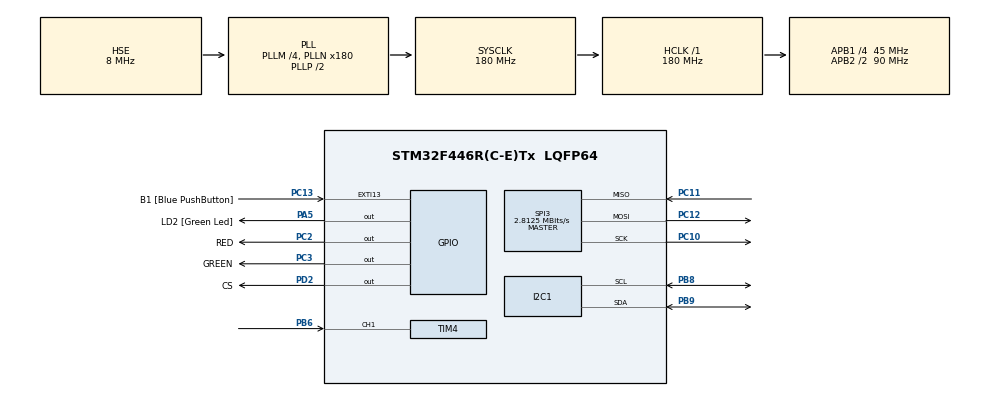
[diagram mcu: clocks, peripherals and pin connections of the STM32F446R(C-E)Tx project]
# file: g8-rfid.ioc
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I2C1.I2C_Mode=I2C_Fast
Mcu.Family=STM32F4
Mcu.Name=STM32F446R(C-E)Tx
Mcu.Package=LQFP64
NVIC.PriorityGroup=NVIC_PRIORITYGROUP_0
NVIC.TIM4_IRQn=true\:0\:0\:false\:false\:true\:true
PA13.GPIO_Label=TMS
PA13.Mode=Serial_Wire
PA13.Signal=SYS_JTMS-SWDIO
PA14.GPIO_Label=TCK
PA14.Mode=Serial_Wire
PA14.Signal=SYS_JTCK-SWCLK
PA2.GPIO_Label=USART_TX
PA2.Signal=USART2_TX
PA3.GPIO_Label=USART_RX
PA3.Signal=USART2_RX
PA5.GPIO_Label=LD2 [Green Led]
PA5.Signal=GPIO_Output
PB3.GPIO_Label=SWO
PB3.Signal=SYS_JTDO-SWO
PB6.Signal=S_TIM4_CH1
PB8.Mode=I2C
PB8.Signal=I2C1_SCL
PB9.Mode=I2C
PB9.Signal=I2C1_SDA
PC10.Mode=Full_Duplex_Master
PC10.Signal=SPI3_SCK
PC11.Mode=Full_Duplex_Master
PC11.Signal=SPI3_MISO
PC12.Mode=Full_Duplex_Master
PC12.Signal=SPI3_MOSI
PC13.GPIO_Label=B1 [Blue PushButton]
PC13.GPIO_ModeDefaultEXTI=GPIO_MODE_IT_FALLING
PC13.Signal=GPXTI13
PC14-OSC32_IN.Mode=LSE-External-Oscillator
PC14-OSC32_IN.Signal=RCC_OSC32_IN
PC15-OSC32_OUT.Mode=LSE-External-Oscillator
PC15-OSC32_OUT.Signal=RCC_OSC32_OUT
PC2.GPIO_Label=RED
PC2.Signal=GPIO_Output
PC3.GPIO_Label=GREEN
PC3.Signal=GPIO_Output
PD2.GPIO_Label=CS
PD2.Signal=GPIO_Output
PH0-OSC_IN.Mode=HSE-External-Oscillator
PH0-OSC_IN.Signal=RCC_OSC_IN
PH1-OSC_OUT.Mode=HSE-External-Oscillator
PH1-OSC_OUT.Signal=RCC_OSC_OUT
ProjectManager.HeapSize=0x200
ProjectManager.StackSize=0x400
ProjectManager.TargetToolchain=SW4STM32
RCC.48MHZClocksFreq_Value=84000000
RCC.AHBFreq_Value=180000000
RCC.APB1CLKDivider=RCC_HCLK_DIV4
RCC.APB1Freq_Value=45000000
RCC.APB1TimFreq_Value=90000000
RCC.APB2CLKDivider=RCC_HCLK_DIV2
RCC.APB2Freq_Value=90000000
RCC.APB2TimFreq_Value=180000000
RCC.CortexFreq_Value=180000000
RCC.FLatency-AdvancedSettings=FLASH_LATENCY_5
RCC.HCLKFreq_Value=180000000
RCC.HSE_VALUE=8000000
RCC.HSI_VALUE=16000000
RCC.PLLM=4
RCC.PLLN=180
RCC.PLLSourceVirtual=RCC_PLLSOURCE_HSE
RCC.SYSCLKFreq_VALUE=180000000
RCC.SYSCLKSource=RCC_SYSCLKSOURCE_PLLCLK
RCC.USBFreq_Value=180000000
RCC.VCOOutputFreq_Value=360000000
SH.S_TIM4_CH1.0=TIM4_CH1,PWM_Input_1
SPI3.BaudRatePrescaler=SPI_BAUDRATEPRESCALER_16
SPI3.CalculateBaudRate=2.8125 MBits/s
SPI3.Direction=SPI_DIRECTION_2LINES
SPI3.Mode=SPI_MODE_MASTER
SPI3.VirtualType=VM_MASTER
TIM4.Period=20000
TIM4.Prescaler=90
board=NUCLEO-F446RE

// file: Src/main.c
/**
  ******************************************************************************
  * @file           : main.c
  * @brief          : Main program body
  ******************************************************************************
  ** This notice applies to any and all portions of this file
  * that are not between comment pairs USER CODE BEGIN and
  * USER CODE END. Other portions of this file, whether
  * inserted by the user or by software development tools
  * are owned by their respective copyright owners.
  *
  * COPYRIGHT(c) 2018 STMicroelectronics
  *
  * Redistribution and use in source and binary forms, with or without modification,
  * are permitted provided that the following conditions are met:
  *   1. Redistributions of source code must retain the above copyright notice,
  *      this list of conditions and the following disclaimer.
  *   2. Redistributions in binary form must reproduce the above copyright notice,
  *      this list of conditions and the following disclaimer in the documentation
  *      and/or other materials provided with the distribution.
  *   3. Neither the name of STMicroelectronics nor the names of its contributors
  *      may be used to endorse or promote products derived from this software
  *      without specific prior written permission.
  *
  * THIS SOFTWARE IS PROVIDED BY THE COPYRIGHT HOLDERS AND CONTRIBUTORS "AS IS"
  * AND ANY EXPRESS OR IMPLIED WARRANTIES, INCLUDING, BUT NOT LIMITED TO, THE
  * IMPLIED WARRANTIES OF MERCHANTABILITY AND FITNESS FOR A PARTICULAR PURPOSE ARE
  * DISCLAIMED. IN NO EVENT SHALL THE COPYRIGHT HOLDER OR CONTRIBUTORS BE LIABLE
  * FOR ANY DIRECT, INDIRECT, INCIDENTAL, SPECIAL, EXEMPLARY, OR CONSEQUENTIAL
  * DAMAGES (INCLUDING, BUT NOT LIMITED TO, PROCUREMENT OF SUBSTITUTE GOODS OR
  * SERVICES; LOSS OF USE, DATA, OR PROFITS; OR BUSINESS INTERRUPTION) HOWEVER
  * CAUSED AND ON ANY THEORY OF LIABILITY, WHETHER IN CONTRACT, STRICT LIABILITY,
  * OR TORT (INCLUDING NEGLIGENCE OR OTHERWISE) ARISING IN ANY WAY OUT OF THE USE
  * OF THIS SOFTWARE, EVEN IF ADVISED OF THE POSSIBILITY OF SUCH DAMAGE.
  *
  ******************************************************************************
  */
#include "main.h"
#include "stm32f4xx_hal.h"
#include "i2c.h"
#include "spi.h"
#include "tim.h"
#include "gpio.h"

/* USER CODE BEGIN Includes */
#include "MFRC522.h"
#include "ssd1306.h"
#include "fonts.h"
/* USER CODE END Includes */

/* USER CODE BEGIN PV */
/* Private variables ---------------------------------------------------------*/
/* Array for storing card IDs */
uint8_t CardID[5];
/* Known IDs */
uint8_t MyIDCard[5] = {0xa0, 0xcf, 0xda, 0xa4, 0x11};
uint8_t MyIDToken[5] = {0xd4, 0xe3, 0x16, 0xa3, 0x82};

/* USER CODE END PV */

void SystemClock_Config(void);

/* USER CODE BEGIN PFP */
/* Private function prototypes -----------------------------------------------*/

/* USER CODE END PFP */

int main(void)
{

  /* MCU Configuration----------------------------------------------------------*/

  /* Reset of all peripherals, Initializes the Flash interface and the Systick. */
  HAL_Init();

  /* Configure the system clock */
  SystemClock_Config();

  /* Initialize all configured peripherals */
  MX_GPIO_Init();
  MX_SPI3_Init();
  MX_TIM4_Init();
  MX_I2C1_Init();
  /* USER CODE BEGIN 2 */

  MFRC522_Init(&hspi3);
  ssd1306_Init(&hi2c1);
  ssd1306_Fill(Black);
  ssd1306_UpdateScreen();

  //HAL_TIM_PWM_Start_IT(&htim4, TIM_CHANNEL_1);

  /* USER CODE END 2 */

  /* Infinite loop */
  /* USER CODE BEGIN WHILE */
  while (1)
  {
	  /* Check if card is present */
	  		if (MFRC522_Check(CardID) == MI_OK) {
	  			/* Check CardID if this is my card or token */
	  			if (MFRC522_Compare(CardID, MyIDCard) == MI_OK) {
	  				HAL_GPIO_WritePin(RED_GPIO_Port, RED_Pin, 0);

	  				HAL_GPIO_WritePin(GREEN_GPIO_Port, GREEN_Pin, 1);
	  					  				/* Do smth here */
	  			} else if (MFRC522_Compare(CardID, MyIDToken) == MI_OK) {
	  				HAL_GPIO_WritePin(RED_GPIO_Port, RED_Pin, 0);
	  				HAL_GPIO_WritePin(GREEN_GPIO_Port, GREEN_Pin, 1);
	  				/* Do smth here */
	  			} else {
	  				HAL_GPIO_WritePin(RED_GPIO_Port, RED_Pin, 1);
	  			    HAL_GPIO_WritePin(GREEN_GPIO_Port, GREEN_Pin, 0);

	  					  				/* Do smth here */
	  			}
	  			/* Print CardID */
	  			//LCD_Printf("0x%02X 0x%02X 0x%02X 0x%02X 0x%02X\n", CardID[0], CardID[1], CardID[2], CardID[3], CardID[4]);
	  		} else {
	  			/* No valid card present */
	  			HAL_GPIO_WritePin(RED_GPIO_Port, RED_Pin, 0);
	           HAL_GPIO_WritePin(GREEN_GPIO_Port, GREEN_Pin, 0);

	  			//LCD_Printf("No card!\n \n");
	  		}

	  		HAL_Delay(100);

  /* USER CODE END WHILE */

  }

}

void SystemClock_Config(void)
{

  RCC_OscInitTypeDef RCC_OscInitStruct;
  RCC_ClkInitTypeDef RCC_ClkInitStruct;

    /**Configure the main internal regulator output voltage
    */
  __HAL_RCC_PWR_CLK_ENABLE();

  __HAL_PWR_VOLTAGESCALING_CONFIG(PWR_REGULATOR_VOLTAGE_SCALE1);

    /**Initializes the CPU, AHB and APB busses clocks
    */
  RCC_OscInitStruct.OscillatorType = RCC_OSCILLATORTYPE_HSE;
  RCC_OscInitStruct.HSEState = RCC_HSE_ON;
  RCC_OscInitStruct.PLL.PLLState = RCC_PLL_ON;
  RCC_OscInitStruct.PLL.PLLSource = RCC_PLLSOURCE_HSE;
  RCC_OscInitStruct.PLL.PLLM = 4;
  RCC_OscInitStruct.PLL.PLLN = 180;
  RCC_OscInitStruct.PLL.PLLP = RCC_PLLP_DIV2;
  RCC_OscInitStruct.PLL.PLLQ = 2;
  RCC_OscInitStruct.PLL.PLLR = 2;
  if (HAL_RCC_OscConfig(&RCC_OscInitStruct) != HAL_OK)
  {
    _Error_Handler(__FILE__, __LINE__);
  }

    /**Activate the Over-Drive mode
    */
  if (HAL_PWREx_EnableOverDrive() != HAL_OK)
  {
    _Error_Handler(__FILE__, __LINE__);
  }

    /**Initializes the CPU, AHB and APB busses clocks
    */
  RCC_ClkInitStruct.ClockType = RCC_CLOCKTYPE_HCLK|RCC_CLOCKTYPE_SYSCLK
                              |RCC_CLOCKTYPE_PCLK1|RCC_CLOCKTYPE_PCLK2;
  RCC_ClkInitStruct.SYSCLKSource = RCC_SYSCLKSOURCE_PLLCLK;
  RCC_ClkInitStruct.AHBCLKDivider = RCC_SYSCLK_DIV1;
  RCC_ClkInitStruct.APB1CLKDivider = RCC_HCLK_DIV4;
  RCC_ClkInitStruct.APB2CLKDivider = RCC_HCLK_DIV2;

  if (HAL_RCC_ClockConfig(&RCC_ClkInitStruct, FLASH_LATENCY_5) != HAL_OK)
  {
    _Error_Handler(__FILE__, __LINE__);
  }

    /**Configure the Systick interrupt time
    */
  HAL_SYSTICK_Config(HAL_RCC_GetHCLKFreq()/1000);

    /**Configure the Systick
    */
  HAL_SYSTICK_CLKSourceConfig(SYSTICK_CLKSOURCE_HCLK);

  /* SysTick_IRQn interrupt configuration */
  HAL_NVIC_SetPriority(SysTick_IRQn, 0, 0);
}

void _Error_Handler(char *file, int line)
{
  while(1)
  {
  }
}

/************************ (C) COPYRIGHT STMicroelectronics *****END OF FILE****/
